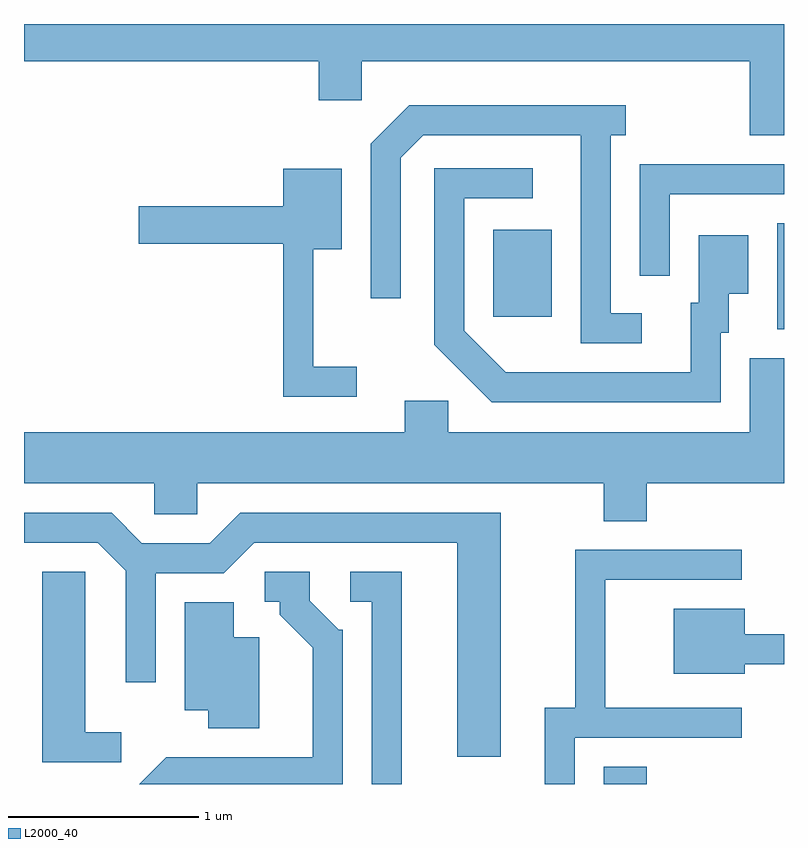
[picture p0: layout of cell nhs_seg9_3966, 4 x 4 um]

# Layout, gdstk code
import gdstk
lib = gdstk.Library(unit=1e-6, precision=1e-09)
def R(c, l, rs):  # rectangles x0, y0, x1, y1
    for r in rs: c.add(gdstk.rectangle(r[:2], r[2:], *l))
def P(c, l, *ps):  # polygons
    for p in ps: c.add(gdstk.Polygon(p, *l))
L2000_40 = (2000, 40)

nhs_seg9_3966 = lib.new_cell('nhs_seg9_3966')
R(nhs_seg9_3966, L2000_40, [(304.661,2012.432,304.889,2012.524), (305.576,2014.826,305.611,2015.384), (304.081,2014.891,304.389,2015.349)])
P(nhs_seg9_3966, L2000_40, [(305.611,2016.432),(301.611,2016.432),(301.611,2016.236),(303.161,2016.236),(303.161,2016.031),(303.389,2016.031),(303.389,2016.236),(305.431,2016.236),(305.431,2015.846),(305.611,2015.846)],
  [(304.863,2014.909),(304.699,2014.909),(304.699,2015.846),(304.778,2015.846),(304.778,2016.004),(303.639,2016.004),(303.436,2015.802),(303.436,2014.988),(303.594,2014.988),(303.594,2015.729),(303.712,2015.846),(304.541,2015.846),(304.541,2014.751),(304.863,2014.751)],
  [(305.009,2015.536),(305.611,2015.536),(305.611,2015.694),(304.851,2015.694),(304.851,2015.108),(305.009,2015.108)],
  [(305.279,2014.806),(305.319,2014.806),(305.319,2015.011),(305.424,2015.011),(305.424,2015.319),(305.161,2015.319),(305.161,2014.964),(305.121,2014.964),(305.121,2014.599),(304.147,2014.599),(303.929,2014.817),(303.929,2015.516),(304.288,2015.516),(304.288,2015.674),(303.771,2015.674),(303.771,2014.744),(304.074,2014.441),(305.279,2014.441)],
  [(303.363,2014.629),(303.134,2014.629),(303.134,2015.246),(303.284,2015.246),(303.284,2015.669),(302.976,2015.669),(302.976,2015.474),(302.216,2015.474),(302.216,2015.276),(302.976,2015.276),(302.976,2014.471),(303.363,2014.471)],
  [(304.889,2014.016),(305.611,2014.016),(305.611,2014.674),(305.431,2014.674),(305.431,2014.284),(303.844,2014.284),(303.844,2014.449),(303.616,2014.449),(303.616,2014.284),(301.611,2014.284),(301.611,2014.016),(302.296,2014.016),(302.296,2013.851),(302.524,2013.851),(302.524,2014.016),(304.661,2014.016),(304.661,2013.816),(304.889,2013.816)],
  [(304.119,2013.859),(302.749,2013.859),(302.589,2013.699),(302.232,2013.699),(302.072,2013.859),(301.611,2013.859),(301.611,2013.701),(301.999,2013.701),(302.146,2013.554),(302.146,2012.968),(302.304,2012.968),(302.304,2013.541),(302.662,2013.541),(302.822,2013.701),(303.891,2013.701),(303.891,2012.576),(304.119,2012.576)],
  [(304.509,2012.676),(305.388,2012.676),(305.388,2012.834),(304.669,2012.834),(304.669,2013.506),(305.388,2013.506),(305.388,2013.664),(304.511,2013.664),(304.511,2012.834),(304.351,2012.834),(304.351,2012.432),(304.509,2012.432)],
  [(302.123,2012.704),(301.934,2012.704),(301.934,2013.549),(301.706,2013.549),(301.706,2012.546),(302.123,2012.546)],
  [(303.599,2013.549),(303.328,2013.549),(303.328,2013.391),(303.441,2013.391),(303.441,2012.432),(303.599,2012.432)],
  [(303.289,2013.244),(303.267,2013.244),(303.114,2013.397),(303.114,2013.549),(302.878,2013.549),(302.878,2013.391),(302.956,2013.391),(302.956,2013.324),(303.131,2013.149),(303.131,2012.574),(302.359,2012.574),(302.217,2012.432),(303.289,2012.432)],
  [(302.849,2013.204),(302.714,2013.204),(302.714,2013.389),(302.456,2013.389),(302.456,2012.821),(302.581,2012.821),(302.581,2012.726),(302.849,2012.726)],
  [(305.404,2013.061),(305.611,2013.061),(305.611,2013.219),(305.404,2013.219),(305.404,2013.354),(305.031,2013.354),(305.031,2013.011),(305.404,2013.011)])

lib.write_gds('nhs_seg9_3966.gds')
